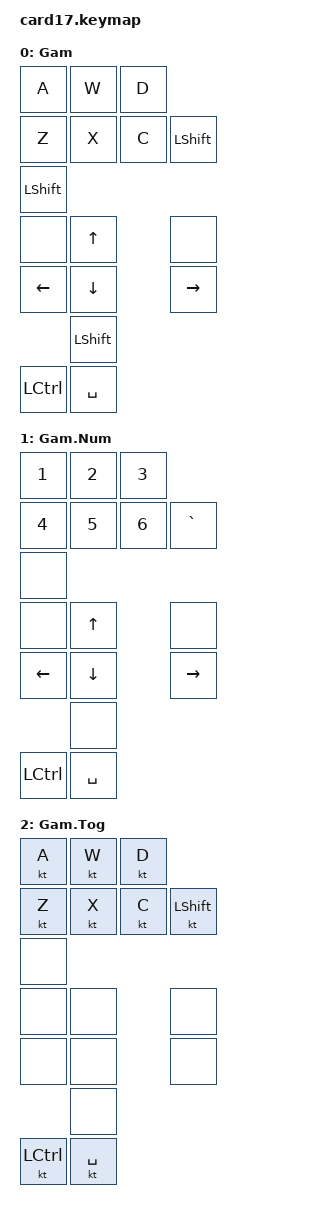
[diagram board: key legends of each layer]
#include <behaviors.dtsi>
#include <dt-bindings/zmk/keys.h>

// Autoshift Macro and Inversion
#define AS(keycode)  &as LS(keycode) keycode
#define ASI(keycode) &as keycode LS(keycode)
// MOSL convenience Macro
#define MOSL(layer) &mosl layer layer

#define GONE_L 0
#define GNUM_L 1
#define GTOG_L 2

// Using layer taps on thumbs, having quick tap as well helps w/ repeating space/backspace
&lt { quick-tap-ms = <200>; };

/ {
  behaviors {
    as: auto_shift {
      compatible = "zmk,behavior-hold-tap";
      #binding-cells = <2>;
      bindings = <&kp>, <&kp>;
      flavor = "tap-preferred";
      tapping-term-ms = <200>;
      quick-tap-ms = <100>;
    };
    ght: game_hold_tap {
      compatible = "zmk,behavior-hold-tap";
      #binding-cells = <2>;
      bindings = <&kp>, <&kp>;
      flavor = "hold-preferred";
      tapping-term-ms = <150>;
    };
//    glt: game_layer_tap {
//      compatible = "zmk,behavior-hold-tap";
//      #binding-cells = <2>;
//      bindings = <&mo>, <&kp>;
//      flavor = "hold-preferred";
//      tapping-term-ms = <150>;
//    };
    mosl: momentary_sticky_layer {
      compatible = "zmk,behavior-hold-tap";
      #binding-cells = <2>;
      bindings = <&mo>, <&sl>;
      flavor = "hold-preferred";
      tapping-term-ms = <150>;
    };
  };

  keymap {
    compatible = "zmk,keymap";
    gaming_layer {
      display-name = "Gam";
      bindings = <
        &kp A &kp W &kp D
        &kp Z &kp X &kp C &kp LSHFT 

        &kp LSHFT
        &none    &kp UP      &none
        &kp LEFT &kp DOWN    &kp RIGHT        
                
            &kp LSHFT
        &kp LCTL &kp SPACE
      >;
    };
    gaming_number_layer {
      display-name = "Gam.Num";
      bindings = <
        &kp N1 &kp N2 &kp N3
        &kp N4 &kp N5 &kp N6 &kp GRAVE     
        
        &none
        &none    &kp UP   &none
        &kp LEFT &kp DOWN &kp RIGHT

        &none
        &kp LCTL &kp SPACE
      >;
    };
    gaming_toggles_layer {
      display-name = "Gam.Tog";
      bindings = <
        &kt A &kt W &kt D    
        &kt Z &kt X &kt C &kt LSHFT

        &none
        &none &none &none
        &none &none &none
        
        &none
        &kt LCTL &kt SPACE
      >;
    };
  };

  /*
   *  0 1 2      7  8  9  10
   *  3 4 5 6       11 12 13
   *           14
   *         15  16
   */

  combos {
    compatible = "zmk,combos";
    combo_bootloader { timeout-ms = <50>; key-positions = <0 10 3 13>; bindings = <&bootloader>; };

    combo_esc   { timeout-ms = <50>; key-positions = <2 6>;   bindings = <&kp ESC>;    layers = <GONE_L>; };
    combo_tab   { timeout-ms = <50>; key-positions = <16 6>;  bindings = <&kp TAB>;    layers = <GONE_L>; };
    combo_caps  { timeout-ms = <50>; key-positions = <16 2 6>;bindings = <&kp CAPS>;   layers = <GONE_L>; };
    combo_s     { timeout-ms = <50>; key-positions = <16 1>;  bindings = <&kp S>;      layers = <GONE_L>;
                  slow-release; };
    
    combo_q     { timeout-ms = <50>; key-positions = <16 0>;  bindings = <&kp Q>;      layers = <GONE_L>; };
    combo_e     { timeout-ms = <50>; key-positions = <16 2>;  bindings = <&kp E>;      layers = <GONE_L>; };
    combo_r     { timeout-ms = <50>; key-positions = <15 2>;  bindings = <&kp R>;      layers = <GONE_L>; };
    combo_f     { timeout-ms = <50>; key-positions = <15 0>;  bindings = <&kp F>;      layers = <GONE_L>; };
    combo_g     { timeout-ms = <50>; key-positions = <15 0 2>;bindings = <&kp G>;      layers = <GONE_L>; };
    combo_b     { timeout-ms = <50>; key-positions = <16 0 2>;bindings = <&kp B>;      layers = <GONE_L>; };
    
    combo_v     { timeout-ms = <50>; key-positions = <0 2>;   bindings = <&kp V>;      layers = <GONE_L>; };
    combo_la    { timeout-ms = <50>; key-positions = <16 14>; bindings = <&kp LALT>;   layers = <GONE_L>; };
    combo_lt_num{ timeout-ms = <50>; key-positions = <14 15>; bindings = <&mo GNUM_L>; layers = <GONE_L>; };
    combo_ms_tg { timeout-ms = <50>; key-positions = <3 4 5>;bindings = <MOSL(GTOG_L)>;layers = <GONE_L>; };

    combo_tg_s  { timeout-ms = <50>; key-positions = <16 1>;  bindings = <&kt S>;      layers = <GTOG_L>; };
    
    combo_tg_q  { timeout-ms = <50>; key-positions = <16 0>;  bindings = <&kt Q>;      layers = <GTOG_L>; };
    combo_tg_e  { timeout-ms = <50>; key-positions = <16 2>;  bindings = <&kt E>;      layers = <GTOG_L>; };
    combo_tg_r  { timeout-ms = <50>; key-positions = <15 2>;  bindings = <&kt R>;      layers = <GTOG_L>; };
    combo_tg_f  { timeout-ms = <50>; key-positions = <15 0>;  bindings = <&kt F>;      layers = <GTOG_L>; };
    combo_tg_g  { timeout-ms = <50>; key-positions = <15 0 2>;bindings = <&kt G>;      layers = <GTOG_L>; };
    combo_tg_b  { timeout-ms = <50>; key-positions = <16 0 2>;bindings = <&kt B>;      layers = <GTOG_L>; };
    
    combo_tg_v  { timeout-ms = <50>; key-positions = <0 2>;   bindings = <&kt V>;      layers = <GTOG_L>; };
    combo_tg_la { timeout-ms = <50>; key-positions = <16 14>; bindings = <&kt LALT>;   layers = <GTOG_L>; };
  };
};

// vim: ft=c
